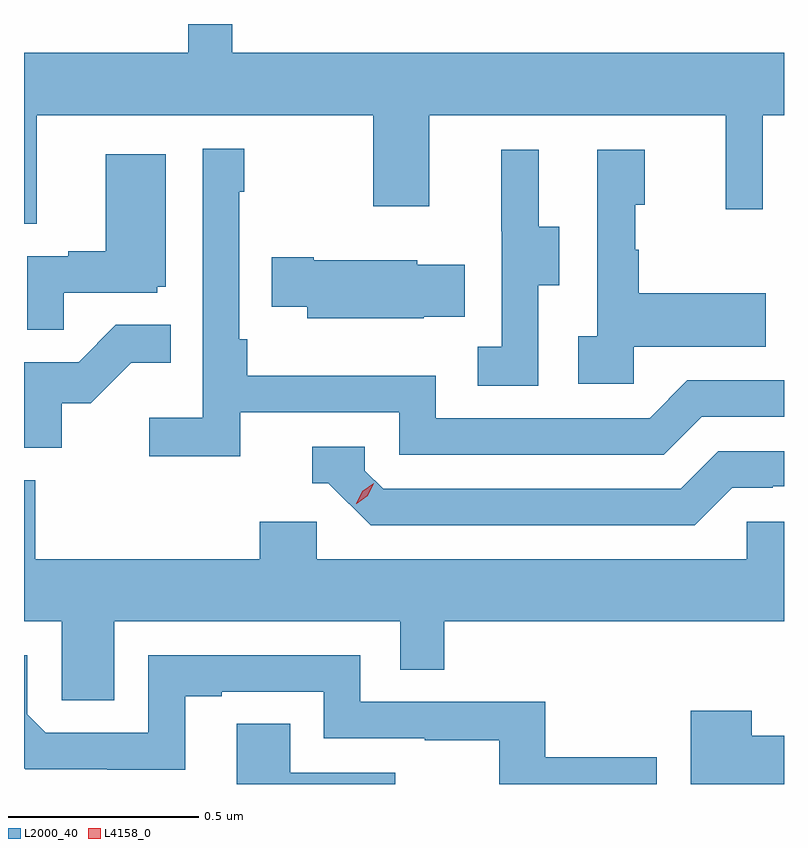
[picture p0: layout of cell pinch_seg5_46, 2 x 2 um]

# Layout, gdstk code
import gdstk
lib = gdstk.Library(unit=1e-6, precision=1e-09)
def P(c, l, *ps):  # polygons
    for p in ps: c.add(gdstk.Polygon(p, *l))
L2000_40 = (2000, 40)
L4158_0 = (4158, 0)

pinch_seg5_46 = lib.new_cell('pinch_seg5_46')
P(pinch_seg5_46, L2000_40, [(1101.337,912.704),(1102.222,912.704),(1102.222,912.465),(1102.369,912.465),(1102.369,912.704),(1103.15,912.704),(1103.15,912.456),(1103.247,912.456),(1103.247,912.704),(1103.303,912.704),(1103.303,912.868),(1101.851,912.868),(1101.851,912.944),(1101.735,912.944),(1101.735,912.868),(1101.303,912.868),(1101.303,912.418),(1101.337,912.418)],
  [(1101.872,911.922),(1102.29,911.922),(1102.29,911.811),(1102.987,911.811),(1103.086,911.91),(1103.303,911.91),(1103.303,912.006),(1103.049,912.006),(1102.95,911.907),(1102.386,911.907),(1102.386,912.019),(1101.89,912.019),(1101.89,912.115),(1101.87,912.115),(1101.87,912.503),(1101.883,912.503),(1101.883,912.616),(1101.774,912.616),(1101.774,911.908),(1101.633,911.908),(1101.633,911.806),(1101.872,911.806)],
  [(1102.908,912.095),(1103.255,912.095),(1103.255,912.235),(1102.921,912.235),(1102.921,912.35),(1102.911,912.35),(1102.911,912.468),(1102.936,912.468),(1102.936,912.613),(1102.812,912.613),(1102.812,912.122),(1102.761,912.122),(1102.761,911.997),(1102.908,911.997)],
  [(1102.656,912.256),(1102.711,912.256),(1102.711,912.411),(1102.657,912.411),(1102.657,912.613),(1102.559,912.613),(1102.559,912.399),(1102.56,912.399),(1102.56,912.095),(1102.497,912.095),(1102.497,911.992),(1102.656,911.992)],
  [(1101.407,912.237),(1101.654,912.237),(1101.654,912.252),(1101.676,912.252),(1101.676,912.601),(1101.518,912.601),(1101.518,912.346),(1101.419,912.346),(1101.419,912.333),(1101.312,912.333),(1101.312,912.139),(1101.407,912.139)],
  [(1102.355,912.173),(1102.463,912.173),(1102.463,912.31),(1102.338,912.31),(1102.338,912.322),(1102.066,912.322),(1102.066,912.33),(1101.955,912.33),(1101.955,912.2),(1102.049,912.2),(1102.049,912.17),(1102.355,912.17)],
  [(1101.402,911.946),(1101.478,911.946),(1101.585,912.053),(1101.689,912.053),(1101.689,912.152),(1101.545,912.152),(1101.447,912.054),(1101.303,912.054),(1101.303,911.829),(1101.402,911.829)],
  [(1103.167,911.724),(1103.274,911.724),(1103.274,911.727),(1103.303,911.727),(1103.303,911.82),(1103.13,911.82),(1103.031,911.721),(1102.248,911.721),(1102.2,911.769),(1102.2,911.832),(1102.061,911.832),(1102.061,911.736),(1102.104,911.736),(1102.215,911.625),(1103.068,911.625)],
  [(1101.541,911.372),(1102.293,911.372),(1102.293,911.245),(1102.409,911.245),(1102.409,911.372),(1103.303,911.372),(1103.303,911.634),(1103.205,911.634),(1103.205,911.536),(1102.074,911.536),(1102.074,911.634),(1101.923,911.634),(1101.923,911.536),(1101.332,911.536),(1101.332,911.744),(1101.303,911.744),(1101.303,911.372),(1101.402,911.372),(1101.402,911.164),(1101.541,911.164)],
  [(1102.968,911.014),(1102.675,911.014),(1102.675,911.16),(1102.188,911.16),(1102.188,911.283),(1101.63,911.283),(1101.63,911.079),(1101.36,911.079),(1101.312,911.127),(1101.312,911.283),(1101.303,911.283),(1101.303,910.986),(1101.306,910.983),(1101.522,910.983),(1101.522,910.982),(1101.727,910.982),(1101.727,911.175),(1101.823,911.175),(1101.823,911.187),(1102.092,911.187),(1102.092,911.064),(1102.357,911.064),(1102.357,911.059),(1102.554,911.059),(1102.554,910.944),(1102.968,910.944)],
  [(1103.303,911.071),(1103.218,911.071),(1103.218,911.137),(1103.057,911.137),(1103.057,910.944),(1103.303,910.944)],
  [(1102.28,910.974),(1102.003,910.974),(1102.003,911.102),(1101.863,911.102),(1101.863,910.944),(1102.28,910.944)])
P(pinch_seg5_46, L4158_0, [(1102.177,911.682),(1102.177,911.683),(1102.193,911.715),(1102.223,911.735),(1102.224,911.735),(1102.224,911.735),(1102.208,911.702),(1102.178,911.682)])

lib.write_gds('pinch_seg5_46.gds')
